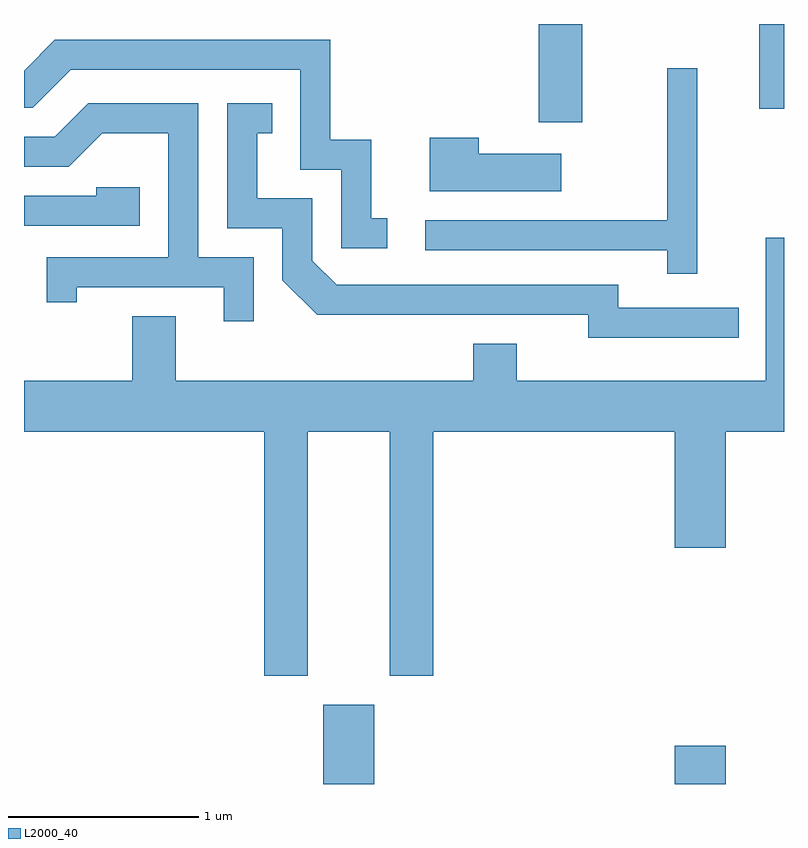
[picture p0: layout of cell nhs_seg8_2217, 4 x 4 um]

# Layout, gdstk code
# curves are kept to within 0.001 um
import gdstk
lib = gdstk.Library(unit=1e-6, precision=1e-09)
def R(c, l, rs):  # rectangles x0, y0, x1, y1
    for r in rs: c.add(gdstk.rectangle(r[:2], r[2:], *l))
def P(c, l, *ps):  # polygons
    for p in ps: c.add(gdstk.Polygon(p, *l))
L2000_40 = (2000, 40)

nhs_seg8_2217 = lib.new_cell('nhs_seg8_2217')
R(nhs_seg8_2217, L2000_40, [(253.186,1832.342,253.454,1832.759), (255.036,1832.342,255.304,1832.544), (254.321,1835.826,254.549,1836.342), (255.481,1835.896,255.611,1836.342)])
P(nhs_seg8_2217, L2000_40, [(253.523,1835.319),(253.439,1835.319),(253.439,1835.734),(253.224,1835.734),(253.224,1836.259),(251.774,1836.259),(251.611,1836.096),(251.611,1835.901),(251.657,1835.901),(251.857,1836.101),(253.066,1836.101),(253.066,1835.576),(253.281,1835.576),(253.281,1835.161),(253.523,1835.161)],
  [(255.154,1836.108),(254.996,1836.108),(254.996,1835.309),(253.723,1835.309),(253.723,1835.151),(254.996,1835.151),(254.996,1835.028),(255.154,1835.028)],
  [(252.819,1835.114),(252.529,1835.114),(252.529,1835.924),(251.949,1835.924),(251.774,1835.749),(251.611,1835.749),(251.611,1835.591),(251.847,1835.591),(252.022,1835.766),(252.371,1835.766),(252.371,1835.114),(251.731,1835.114),(251.731,1834.878),(251.889,1834.878),(251.889,1834.956),(252.661,1834.956),(252.661,1834.778),(252.819,1834.778)],
  [(255.373,1834.849),(254.739,1834.849),(254.739,1834.969),(253.257,1834.969),(253.129,1835.097),(253.129,1835.424),(252.839,1835.424),(252.839,1835.766),(252.918,1835.766),(252.918,1835.924),(252.681,1835.924),(252.681,1835.266),(252.971,1835.266),(252.971,1834.994),(253.154,1834.811),(254.581,1834.811),(254.581,1834.691),(255.373,1834.691)],
  [(254.439,1835.659),(254.004,1835.659),(254.004,1835.744),(253.746,1835.744),(253.746,1835.461),(254.439,1835.461)],
  [(252.219,1835.484),(251.991,1835.484),(251.991,1835.439),(251.611,1835.439),(251.611,1835.281),(252.219,1835.281)],
  [(253.104,1834.196),(253.536,1834.196),(253.536,1832.911),(253.764,1832.911),(253.764,1834.196),(255.036,1834.196),(255.036,1833.586),(255.304,1833.586),(255.304,1834.196),(255.611,1834.196),(255.611,1835.218),(255.516,1835.218),(255.516,1834.464),(254.204,1834.464),(254.204,1834.659),(253.976,1834.659),(253.976,1834.464),(252.409,1834.464),(252.409,1834.804),(252.181,1834.804),(252.181,1834.464),(251.611,1834.464),(251.611,1834.196),(252.876,1834.196),(252.876,1832.911),(253.104,1832.911)])

lib.write_gds('nhs_seg8_2217.gds')
